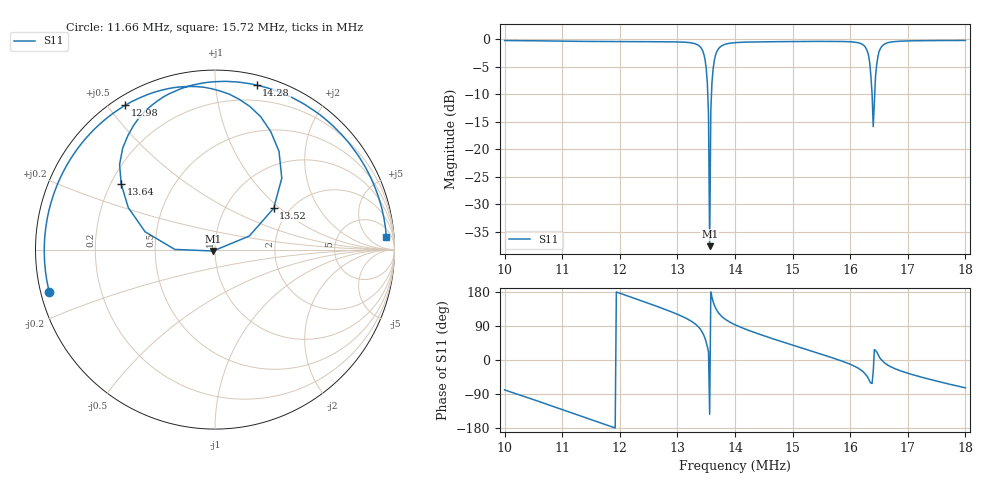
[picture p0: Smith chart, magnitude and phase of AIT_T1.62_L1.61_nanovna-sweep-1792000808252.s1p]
! NanoVNA Web complex sweep
! Processing: original sample grid, no browser smoothing
# Hz S RI R 50
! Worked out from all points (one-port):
!   401 points, 10 MHz to 18 MHz, reference 50 ohm
!   lowest |S11| = -37.7 dB at 13.56 MHz (marker M1), VSWR 1.03, Z = 49 - j0.77 ohm
!   |S11| at or under -10 dB: 13.52705 MHz to 13.59178 MHz (64.73 kHz wide, 0.477 % of centre); 16.38002 MHz to 16.42601 MHz (45.99 kHz wide, 0.28 % of centre)
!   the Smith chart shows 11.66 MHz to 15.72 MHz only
!   S11 on the Smith chart (normalised r, x): 11.66 MHz: 0.02, -0.13; 12.98 MHz: 0.04, +0.56; 13.52 MHz: 1.66, +0.91; 13.64 MHz: 0.24, +0.30; 14.28 MHz: 0.07, +1.28; 15.72 MHz: 12, +20
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1e7  0.1869 -0.9556
1.1e7  -0.6264 -0.7308
1.166e7  -0.9232 -0.238
1.2e7  -0.949 0.0606
1.298e7  -0.5001 0.804
1.3e7  -0.4817 0.8143
1.33e7  -0.098 0.908
1.344e7  0.2542 0.741
1.35e7  0.3721 0.3979
1.352e7  0.3268 0.23
1.356e7  -0.0105 -0.00786
1.36e7  -0.3898 0.0994
1.362e7  -0.4832 0.2342
1.364e7  -0.5226 0.3642
1.376e7  -0.3855 0.7762
1.4e7  -0.0499 0.9307
1.428e7  0.2321 0.9165
1.5e7  0.7387 0.6029
1.572e7  0.9542 0.0712
1.6e7  0.9309 -0.1838
1.62e7  0.8006 -0.4241
1.63e7  0.5541 -0.5409
1.638e7  0.1492 -0.279
1.642e7  0.2387 0.1234
1.646e7  0.5462 0.2154
1.656e7  0.8727 -0.0353
1.7e7  0.7929 -0.5533
1.8e7  0.2773 -0.9355
